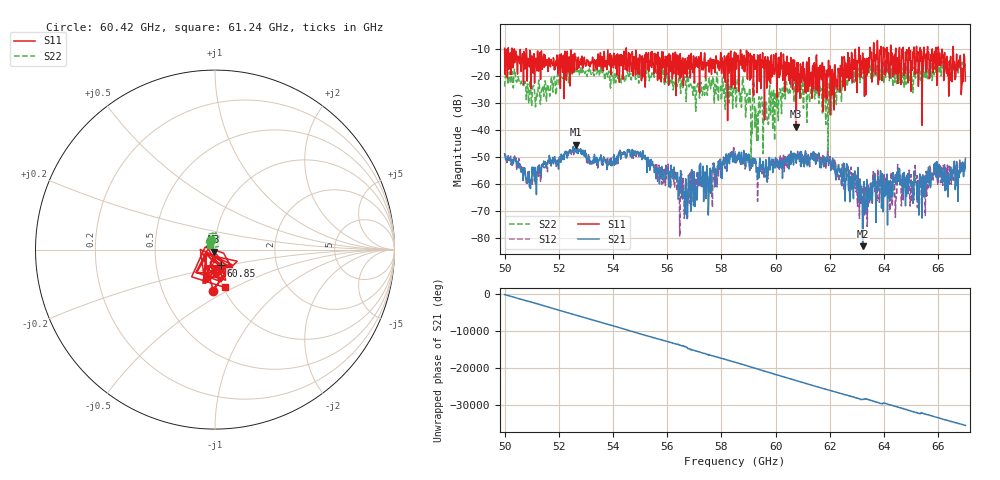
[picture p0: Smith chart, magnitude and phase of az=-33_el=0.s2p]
!Created with skrf (http://scikit-rf.org).
# GHz S RI R 50.0
!freq ReS11 ImS11 ReS21 ImS21 ReS12 ImS12 ReS22 ImS22
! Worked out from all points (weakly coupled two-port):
!   1001 points, 50 GHz to 67 GHz, reference 50 ohm
!   highest |S21| = -45.49 dB at 52.62 GHz (marker M1); lowest = -83.0 dB at 63.21 GHz (marker M2)
!   lowest |S11| = -38.8 dB at 60.76 GHz (marker M3), VSWR 1.02, Z = 49.6 - j1.06 ohm
!   |S11| at or under -10 dB: 50.8 GHz to 54.49 GHz (3.685 GHz wide, 7 % of centre); 54.49 GHz to 63.07 GHz (8.581 GHz wide, 14.6 % of centre); 66.01 GHz to 66.54 GHz (533 MHz wide, 0.804 % of centre) (the widest 3 of 28)
!   |S22| runs from -51.9 to -13.9 dB; largest |S21 - S12| = 0.0025
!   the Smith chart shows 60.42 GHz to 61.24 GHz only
!   S11 on the Smith chart (normalised r, x): 60.42 GHz: 0.88, -0.43; 60.85 GHz: 1.05, -0.19; 61.24 GHz: 1.02, -0.45
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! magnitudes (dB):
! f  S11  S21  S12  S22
! 50 GHz  -9.8  -48.8  -49.9  -23.9
! 50.9 GHz  -16.1  -55.4  -56.2  -28.3
! 52.62 GHz  -12.9  -45.5  -45.9  -18.0
! 52.84 GHz  -13.4  -48.0  -47.4  -19.4
! 54.93 GHz  -14.3  -48.8  -48.9  -21.3
! 55.68 GHz  -13.7  -54.1  -54.0  -21.5
! 56.22 GHz  -15.0  -57.7  -55.7  -25.2
! 56.68 GHz  -19.3  -58.1  -59.1  -23.3
! 58.5 GHz  -24.7  -49.3  -48.1  -25.1
! 59.32 GHz  -26.2  -53.9  -55.4  -34.3
! 60.42 GHz  -12.7  -51.4  -50.5  -24.9
! 60.76 GHz  -38.8  -52.4  -49.1  -27.6
! 60.85 GHz  -20.6  -50.0  -49.6  -22.2
! 61.24 GHz  -13.2  -53.1  -50.2  -28.0
! 61.34 GHz  -28.3  -49.7  -49.3  -25.5
! 62 GHz  -16.3  -51.3  -49.9  -24.3
! 63.21 GHz  -11.5  -83.0  -64.7  -19.3
! 64.18 GHz  -19.1  -58.9  -63.4  -18.7
! 65.32 GHz  -11.7  -56.4  -55.8  -18.1
! 65.86 GHz  -10.9  -55.0  -56.6  -17.0
! 66.34 GHz  -19.0  -57.0  -53.0  -16.2
! 67 GHz  -21.9  -50.5  -54.6  -15.7
